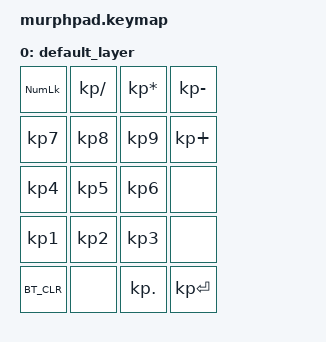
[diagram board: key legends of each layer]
#include <behaviors.dtsi>
#include <dt-bindings/zmk/keys.h>
#include <dt-bindings/zmk/bt.h>

/ {
    keymap {
        compatible = "zmk,keymap";

        default_layer {
            bindings = <
                &kp KP_NUMLOCK   &kp KP_SLASH      &kp KP_ASTERISK  &kp KP_MINUS
                &kp KP_NUMBER_7  &kp KP_NUMBER_8   &kp KP_NUMBER_9  &kp KP_PLUS
                &kp KP_NUMBER_4  &kp KP_NUMBER_5   &kp KP_NUMBER_6  &none
                &kp KP_NUMBER_1  &kp KP_NUMBER_2   &kp KP_NUMBER_3  &none
                &kp BT_CLR  &none             &kp KP_DOT       &kp KP_ENTER
            >;
        };
    };
};

